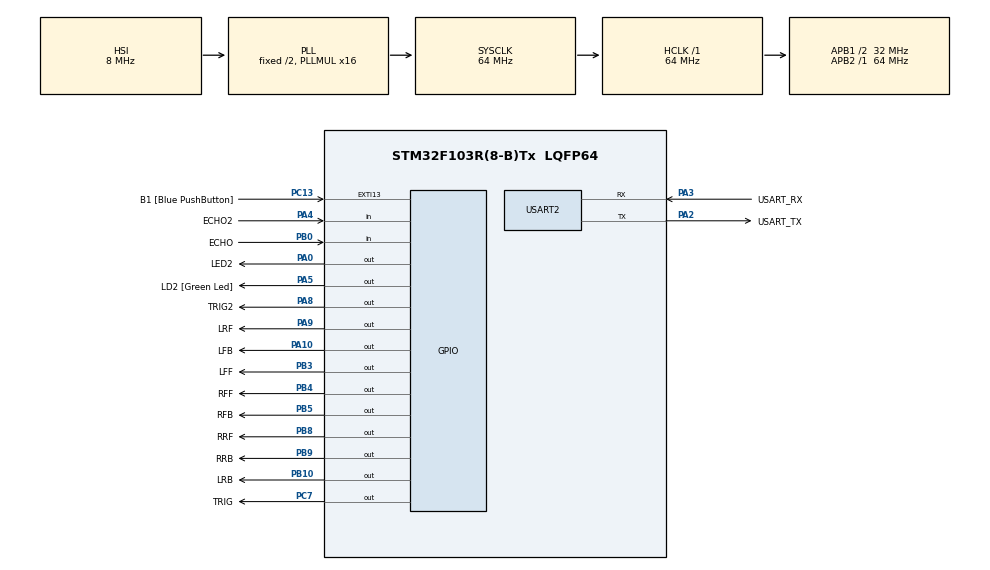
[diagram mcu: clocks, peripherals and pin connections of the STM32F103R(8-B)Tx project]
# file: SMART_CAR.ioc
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Mcu.Family=STM32F1
Mcu.Name=STM32F103R(8-B)Tx
Mcu.Package=LQFP64
NVIC.EXTI15_10_IRQn=true\:0\:0\:false\:false\:true\:true\:true\:true
NVIC.PriorityGroup=NVIC_PRIORITYGROUP_4
PA0-WKUP.GPIO_Label=LED2
PA0-WKUP.Signal=GPIO_Output
PA10.GPIO_Label=LFB
PA10.Signal=GPIO_Output
PA13.GPIO_Label=TMS
PA13.Mode=Serial_Wire
PA13.Signal=SYS_JTMS-SWDIO
PA14.GPIO_Label=TCK
PA14.Mode=Serial_Wire
PA14.Signal=SYS_JTCK-SWCLK
PA2.GPIO_Label=USART_TX
PA2.GPIO_Mode=GPIO_MODE_AF_PP
PA2.GPIO_PuPd=GPIO_NOPULL
PA2.GPIO_Speed=GPIO_SPEED_FREQ_LOW
PA2.Mode=Asynchronous
PA2.Signal=USART2_TX
PA3.GPIO_Label=USART_RX
PA3.GPIO_Mode=GPIO_MODE_AF_PP
PA3.GPIO_PuPd=GPIO_NOPULL
PA3.GPIO_Speed=GPIO_SPEED_FREQ_LOW
PA3.Mode=Asynchronous
PA3.Signal=USART2_RX
PA4.GPIO_Label=ECHO2
PA4.Signal=GPIO_Input
PA5.GPIO_Label=LD2 [Green Led]
PA5.GPIO_ModeDefaultOutputPP=GPIO_MODE_OUTPUT_PP
PA5.GPIO_PuPd=GPIO_NOPULL
PA5.GPIO_Speed=GPIO_SPEED_FREQ_LOW
PA5.Signal=GPIO_Output
PA8.GPIO_Label=TRIG2
PA8.Signal=GPIO_Output
PA9.GPIO_Label=LRF
PA9.Signal=GPIO_Output
PB0.GPIO_Label=ECHO
PB0.Signal=GPIO_Input
PB10.GPIO_Label=LRB
PB10.Signal=GPIO_Output
PB3.GPIO_Label=LFF
PB3.Signal=GPIO_Output
PB4.GPIO_Label=RFF
PB4.Signal=GPIO_Output
PB5.GPIO_Label=RFB
PB5.Signal=GPIO_Output
PB8.GPIO_Label=RRF
PB8.Signal=GPIO_Output
PB9.GPIO_Label=RRB
PB9.Signal=GPIO_Output
PC13-TAMPER-RTC.GPIO_Label=B1 [Blue PushButton]
PC13-TAMPER-RTC.GPIO_PuPd=GPIO_NOPULL
PC13-TAMPER-RTC.Signal=GPXTI13
PC14-OSC32_IN.Signal=RCC_OSC32_IN
PC15-OSC32_OUT.Signal=RCC_OSC32_OUT
PC7.GPIO_Label=TRIG
PC7.Signal=GPIO_Output
PD0-OSC_IN.Signal=RCC_OSC_IN
PD1-OSC_OUT.Signal=RCC_OSC_OUT
ProjectManager.HeapSize=0x200
ProjectManager.StackSize=0x400
ProjectManager.TargetToolchain=STM32CubeIDE
RCC.AHBFreq_Value=64000000
RCC.APB1CLKDivider=RCC_HCLK_DIV2
RCC.APB1Freq_Value=32000000
RCC.APB1TimFreq_Value=64000000
RCC.APB2Freq_Value=64000000
RCC.APB2TimFreq_Value=64000000
RCC.HCLKFreq_Value=64000000
RCC.PLLMUL=RCC_PLL_MUL16
RCC.RTCClockSelection=RCC_RTCCLKSOURCE_LSE
RCC.SYSCLKFreq_VALUE=64000000
RCC.SYSCLKSource=RCC_SYSCLKSOURCE_PLLCLK
RCC.USBFreq_Value=64000000
TIM1.Prescaler=64-1
TIM2.Prescaler=64-1
USART2.VirtualMode=VM_ASYNC
VP_TIM1_VS_ClockSourceINT.Mode=Internal
VP_TIM2_VS_ClockSourceINT.Mode=Internal
board=NUCLEO-F103RB

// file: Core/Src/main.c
/* USER CODE BEGIN Header */
/**
 ******************************************************************************
 * @file           : main.c
 * @brief          : Main program body
 ******************************************************************************
 * @attention
 *
 * Copyright (c) 2025 STMicroelectronics.
 * All rights reserved.
 *
 * This software is licensed under terms that can be found in the LICENSE file
 * in the root directory of this software component.
 * If no LICENSE file comes with this software, it is provided AS-IS.
 *
 ******************************************************************************
 */
/* USER CODE END Header */
#include "main.h"

/* USER CODE BEGIN Includes */
#include <stdio.h>
#include <stdlib.h>
/* USER CODE END Includes */

/* USER CODE BEGIN PD */
unsigned int echo_time = 0;
unsigned int echo2_time = 0;
int dist;
int dist2;
/* USER CODE END PD */

TIM_HandleTypeDef htim1;
TIM_HandleTypeDef htim2;

UART_HandleTypeDef huart2;

void SystemClock_Config(void);
static void MX_GPIO_Init(void);
static void MX_USART2_UART_Init(void);
static void MX_TIM1_Init(void);
static void MX_TIM2_Init(void);

/* USER CODE BEGIN 0 */
#ifdef __GNUC__
#define PUTCHAR_PROTOTYPE int __io_putchar(int ch)
#else
#define PUTCHAR_PROTOTYPE int fputc(int ch, FILE *f)
#endif

PUTCHAR_PROTOTYPE {
	if (ch == '\n')
		HAL_UART_Transmit(&huart2, (uint8_t*) "\r", 1, 0xFFFF);
	HAL_UART_Transmit(&huart2, (uint8_t*) &ch, 1, 0xFFFF);

	return ch;
}

void timer_start(void) {
	HAL_TIM_Base_Start(&htim1);
}

void delay_us(uint16_t us) {
	__HAL_TIM_SET_COUNTER(&htim1, 0); // initialize counter to start from 0
	while ((__HAL_TIM_GET_COUNTER(&htim1)) < us)
		; // wait count until us
}

void trig(void) {
	HAL_GPIO_WritePin(TRIG_GPIO_Port, TRIG_Pin, 1);
	delay_us(10);
	HAL_GPIO_WritePin(TRIG_GPIO_Port, TRIG_Pin, 0);
}

/**
 * @brief echo 신호가 HIGH를 유지하는 시간을 (㎲)단위로 측정하여 리턴한다.
 * @param no param(void)
 */

long unsigned int echo(void) {
	long unsigned int echo = 0;

	while (HAL_GPIO_ReadPin(ECHO_GPIO_Port, ECHO_Pin) == 0) {
	}
	__HAL_TIM_SET_COUNTER(&htim1, 0);
	while (HAL_GPIO_ReadPin(ECHO_GPIO_Port, ECHO_Pin) == 1)
		;
	echo = __HAL_TIM_GET_COUNTER(&htim1);

	if (echo >= 240 && echo <= 23000)
		return echo;
	else
		return 0;
}

void timer2_start(void) {
	HAL_TIM_Base_Start(&htim2);
}

void delay2_us(uint16_t us) {
	__HAL_TIM_SET_COUNTER(&htim2, 0); // initialize counter to start from 0
	while ((__HAL_TIM_GET_COUNTER(&htim2)) < us)
		; // wait count until us
}

void trig2(void) {
	HAL_GPIO_WritePin(TRIG2_GPIO_Port, TRIG2_Pin, 1);
	delay2_us(10);
	HAL_GPIO_WritePin(TRIG2_GPIO_Port, TRIG2_Pin, 0);
}

long unsigned int echo2(void) {
	long unsigned int echo2 = 0;

	while (HAL_GPIO_ReadPin(ECHO2_GPIO_Port, ECHO2_Pin) == 0) {
	}
	__HAL_TIM_SET_COUNTER(&htim2, 0);
	while (HAL_GPIO_ReadPin(ECHO2_GPIO_Port, ECHO2_Pin) == 1)
		;
	echo2 = __HAL_TIM_GET_COUNTER(&htim2);

	if (echo2 >= 240 && echo2 <= 23000)
		return echo2;
	else
		return 0;
}

void smartcar_forward(void) {
	HAL_GPIO_WritePin(LFF_GPIO_Port, LFF_Pin, 1);
	HAL_GPIO_WritePin(LFB_GPIO_Port, LFB_Pin, 0);

	HAL_GPIO_WritePin(LRF_GPIO_Port, LRF_Pin, 1);
	HAL_GPIO_WritePin(LRB_GPIO_Port, LRB_Pin, 0);

	HAL_GPIO_WritePin(RFF_GPIO_Port, RFF_Pin, 1);
	HAL_GPIO_WritePin(RFB_GPIO_Port, RFB_Pin, 0);

	HAL_GPIO_WritePin(RRF_GPIO_Port, RRF_Pin, 1);
	HAL_GPIO_WritePin(RRB_GPIO_Port, RRB_Pin, 0);
}

void smartcar_backward(void) {
	HAL_GPIO_WritePin(LFF_GPIO_Port, LFF_Pin, 0);
	HAL_GPIO_WritePin(LFB_GPIO_Port, LFB_Pin, 1);

	HAL_GPIO_WritePin(LRF_GPIO_Port, LRF_Pin, 0);
	HAL_GPIO_WritePin(LRB_GPIO_Port, LRB_Pin, 1);

	HAL_GPIO_WritePin(RFF_GPIO_Port, RFF_Pin, 0);
	HAL_GPIO_WritePin(RFB_GPIO_Port, RFB_Pin, 1);

	HAL_GPIO_WritePin(RRF_GPIO_Port, RRF_Pin, 0);
	HAL_GPIO_WritePin(RRB_GPIO_Port, RRB_Pin, 1);
}

void smartcar_right(void) {
	HAL_GPIO_WritePin(LFF_GPIO_Port, LFF_Pin, 1);
	HAL_GPIO_WritePin(LFB_GPIO_Port, LFB_Pin, 0);

	HAL_GPIO_WritePin(LRF_GPIO_Port, LRF_Pin, 1);
	HAL_GPIO_WritePin(LRB_GPIO_Port, LRB_Pin, 0);

	HAL_GPIO_WritePin(RFF_GPIO_Port, RFF_Pin, 0);
	HAL_GPIO_WritePin(RFB_GPIO_Port, RFB_Pin, 1);

	HAL_GPIO_WritePin(RRF_GPIO_Port, RRF_Pin, 0);
	HAL_GPIO_WritePin(RRB_GPIO_Port, RRB_Pin, 1);
}

void smartcar_left(void) {
	HAL_GPIO_WritePin(LFF_GPIO_Port, LFF_Pin, 0);
	HAL_GPIO_WritePin(LFB_GPIO_Port, LFB_Pin, 1);

	HAL_GPIO_WritePin(LRF_GPIO_Port, LRF_Pin, 0);
	HAL_GPIO_WritePin(LRB_GPIO_Port, LRB_Pin, 1);

	HAL_GPIO_WritePin(RFF_GPIO_Port, RFF_Pin, 1);
	HAL_GPIO_WritePin(RFB_GPIO_Port, RFB_Pin, 0);

	HAL_GPIO_WritePin(RRF_GPIO_Port, RRF_Pin, 1);
	HAL_GPIO_WritePin(RRB_GPIO_Port, RRB_Pin, 0);
}

void smartcar_stop(void) {
	HAL_GPIO_WritePin(LFF_GPIO_Port, LFF_Pin, 0);
	HAL_GPIO_WritePin(LFB_GPIO_Port, LFB_Pin, 0);

	HAL_GPIO_WritePin(LRF_GPIO_Port, LRF_Pin, 0);
	HAL_GPIO_WritePin(LRB_GPIO_Port, LRB_Pin, 0);

	HAL_GPIO_WritePin(RFF_GPIO_Port, RFF_Pin, 0);
	HAL_GPIO_WritePin(RFB_GPIO_Port, RFB_Pin, 0);

	HAL_GPIO_WritePin(RRF_GPIO_Port, RRF_Pin, 0);
	HAL_GPIO_WritePin(RRB_GPIO_Port, RRB_Pin, 0);
}
/* USER CODE END 0 */

int main(void) {

	/* MCU Configuration--------------------------------------------------------*/

	/* Reset of all peripherals, Initializes the Flash interface and the Systick. */
	HAL_Init();

	/* Configure the system clock */
	SystemClock_Config();

	/* Initialize all configured peripherals */
	MX_GPIO_Init();
	MX_USART2_UART_Init();
	MX_TIM1_Init();
	MX_TIM2_Init();
	/* USER CODE BEGIN 2 */
	printf("=== UART2 Receive Test ===\r\n");
	timer_start();
	timer2_start();
	uint8_t ch;

	smartcar_stop();

	/* USER CODE END 2 */

	/* Infinite loop */
	/* USER CODE BEGIN WHILE */
	while (1) {
//		HAL_UART_Receive(&huart2, &ch, 1, HAL_MAX_DELAY);

		trig();
		echo_time = echo();

		if (echo_time != 0) {
			dist = (int) (17 * echo_time / 100);
			printf("\n Distance = %d(mm)\n", dist);
		} else
			printf("Out of Range!\n");

		trig2();
		echo2_time = echo2();
		if (echo2_time != 0) {
			dist2 = (int) (17 * echo2_time / 100);
			printf("Distance2 = %d(mm)\n\n", dist2);
		} else
			printf("Out of Range2!\n");

		smartcar_forward();

		if (dist <= 200 || dist2 <= 200){
			if (dist > dist2){
				smartcar_right();
				HAL_Delay(300);
			}
			else if (dist < dist2){
				smartcar_left();
				HAL_Delay(300);
			}
		}

//
//		if (ch == 'w') {
//			printf("Forward \r\n");
//			smartcar_forward();
//			HAL_Delay(100);
//		} else if (ch == 's') {
//			printf("backward \r\n");
//			smartcar_backward();
//			HAL_Delay(100);
//		} else if (ch == 'd') {
//			printf("right \r\n");
//			smartcar_right();
//			HAL_Delay(100);
//		} else if (ch == 'a') {
//			printf("left \r\n");
//			smartcar_left();
//			HAL_Delay(100);
//		} else if (ch == 'f') {
//			printf("stop \r\n");
//			smartcar_stop();
//		}
//
//		smartcar_stop();

//
//	  smartcar_forward();
//	  HAL_Delay(5000);
//
//	  smartcar_backward();
//	  HAL_Delay(5000);
//
//	  smartcar_stop();
//	  HAL_Delay(5000);

//	  HAL_GPIO_WritePin(RFF_GPIO_Port, RFF_Pin, 1);
//	  HAL_GPIO_WritePin(RFB_GPIO_Port, RFB_Pin, 0);
//
//	  HAL_GPIO_WritePin(RRF_GPIO_Port, RRF_Pin, 1);
//	  HAL_GPIO_WritePin(RRB_GPIO_Port, RRB_Pin, 0);
//
//	  HAL_GPIO_WritePin(LFF_GPIO_Port, LFF_Pin, 1);
//	  HAL_GPIO_WritePin(LFB_GPIO_Port, LFB_Pin, 0);
//
//	  HAL_GPIO_WritePin(LRF_GPIO_Port, LRF_Pin, 1);
//	  HAL_GPIO_WritePin(LRB_GPIO_Port, LRB_Pin, 0);
//
//	  HAL_GPIO_WritePin(LD2_GPIO_Port, LD2_Pin, 1);
//	  HAL_GPIO_WritePin(LED2_GPIO_Port, LED2_Pin, 1);
//	  HAL_Delay(100);
//	  HAL_GPIO_WritePin(LD2_GPIO_Port, LD2_Pin, 0);
//	  HAL_GPIO_WritePin(LED2_GPIO_Port, LED2_Pin, 0);
//	  HAL_Delay(100);

		/* USER CODE END WHILE */

	}
}

void SystemClock_Config(void) {
	RCC_OscInitTypeDef RCC_OscInitStruct = { 0 };
	RCC_ClkInitTypeDef RCC_ClkInitStruct = { 0 };

	/** Initializes the RCC Oscillators according to the specified parameters
	 * in the RCC_OscInitTypeDef structure.
	 */
	RCC_OscInitStruct.OscillatorType = RCC_OSCILLATORTYPE_HSI;
	RCC_OscInitStruct.HSIState = RCC_HSI_ON;
	RCC_OscInitStruct.HSICalibrationValue = RCC_HSICALIBRATION_DEFAULT;
	RCC_OscInitStruct.PLL.PLLState = RCC_PLL_ON;
	RCC_OscInitStruct.PLL.PLLSource = RCC_PLLSOURCE_HSI_DIV2;
	RCC_OscInitStruct.PLL.PLLMUL = RCC_PLL_MUL16;
	if (HAL_RCC_OscConfig(&RCC_OscInitStruct) != HAL_OK) {
		Error_Handler();
	}

	/** Initializes the CPU, AHB and APB buses clocks
	 */
	RCC_ClkInitStruct.ClockType = RCC_CLOCKTYPE_HCLK | RCC_CLOCKTYPE_SYSCLK
			| RCC_CLOCKTYPE_PCLK1 | RCC_CLOCKTYPE_PCLK2;
	RCC_ClkInitStruct.SYSCLKSource = RCC_SYSCLKSOURCE_PLLCLK;
	RCC_ClkInitStruct.AHBCLKDivider = RCC_SYSCLK_DIV1;
	RCC_ClkInitStruct.APB1CLKDivider = RCC_HCLK_DIV2;
	RCC_ClkInitStruct.APB2CLKDivider = RCC_HCLK_DIV1;

	if (HAL_RCC_ClockConfig(&RCC_ClkInitStruct, FLASH_LATENCY_2) != HAL_OK) {
		Error_Handler();
	}
}

static void MX_TIM1_Init(void) {

	TIM_ClockConfigTypeDef sClockSourceConfig = { 0 };
	TIM_MasterConfigTypeDef sMasterConfig = { 0 };

	htim1.Instance = TIM1;
	htim1.Init.Prescaler = 64 - 1;
	htim1.Init.CounterMode = TIM_COUNTERMODE_UP;
	htim1.Init.Period = 65535;
	htim1.Init.ClockDivision = TIM_CLOCKDIVISION_DIV1;
	htim1.Init.RepetitionCounter = 0;
	htim1.Init.AutoReloadPreload = TIM_AUTORELOAD_PRELOAD_DISABLE;
	if (HAL_TIM_Base_Init(&htim1) != HAL_OK) {
		Error_Handler();
	}
	sClockSourceConfig.ClockSource = TIM_CLOCKSOURCE_INTERNAL;
	if (HAL_TIM_ConfigClockSource(&htim1, &sClockSourceConfig) != HAL_OK) {
		Error_Handler();
	}
	sMasterConfig.MasterOutputTrigger = TIM_TRGO_RESET;
	sMasterConfig.MasterSlaveMode = TIM_MASTERSLAVEMODE_DISABLE;
	if (HAL_TIMEx_MasterConfigSynchronization(&htim1, &sMasterConfig)
			!= HAL_OK) {
		Error_Handler();
	}

}

static void MX_TIM2_Init(void) {

	TIM_ClockConfigTypeDef sClockSourceConfig = { 0 };
	TIM_MasterConfigTypeDef sMasterConfig = { 0 };

	htim2.Instance = TIM2;
	htim2.Init.Prescaler = 64 - 1;
	htim2.Init.CounterMode = TIM_COUNTERMODE_UP;
	htim2.Init.Period = 65535;
	htim2.Init.ClockDivision = TIM_CLOCKDIVISION_DIV1;
	htim2.Init.AutoReloadPreload = TIM_AUTORELOAD_PRELOAD_DISABLE;
	if (HAL_TIM_Base_Init(&htim2) != HAL_OK) {
		Error_Handler();
	}
	sClockSourceConfig.ClockSource = TIM_CLOCKSOURCE_INTERNAL;
	if (HAL_TIM_ConfigClockSource(&htim2, &sClockSourceConfig) != HAL_OK) {
		Error_Handler();
	}
	sMasterConfig.MasterOutputTrigger = TIM_TRGO_RESET;
	sMasterConfig.MasterSlaveMode = TIM_MASTERSLAVEMODE_DISABLE;
	if (HAL_TIMEx_MasterConfigSynchronization(&htim2, &sMasterConfig)
			!= HAL_OK) {
		Error_Handler();
	}

}

static void MX_USART2_UART_Init(void) {

	huart2.Instance = USART2;
	huart2.Init.BaudRate = 115200;
	huart2.Init.WordLength = UART_WORDLENGTH_8B;
	huart2.Init.StopBits = UART_STOPBITS_1;
	huart2.Init.Parity = UART_PARITY_NONE;
	huart2.Init.Mode = UART_MODE_TX_RX;
	huart2.Init.HwFlowCtl = UART_HWCONTROL_NONE;
	huart2.Init.OverSampling = UART_OVERSAMPLING_16;
	if (HAL_UART_Init(&huart2) != HAL_OK) {
		Error_Handler();
	}

}

static void MX_GPIO_Init(void) {
	GPIO_InitTypeDef GPIO_InitStruct = { 0 };

	/* GPIO Ports Clock Enable */
	__HAL_RCC_GPIOC_CLK_ENABLE();
	__HAL_RCC_GPIOD_CLK_ENABLE();
	__HAL_RCC_GPIOA_CLK_ENABLE();
	__HAL_RCC_GPIOB_CLK_ENABLE();

	/*Configure GPIO pin Output Level */
	HAL_GPIO_WritePin(GPIOA, LED2_Pin | LD2_Pin | TRIG2_Pin | LRF_Pin | LFB_Pin,
			GPIO_PIN_RESET);

	/*Configure GPIO pin Output Level */
	HAL_GPIO_WritePin(GPIOB,
	LRB_Pin | LFF_Pin | RFF_Pin | RFB_Pin | RRF_Pin | RRB_Pin, GPIO_PIN_RESET);

	/*Configure GPIO pin Output Level */
	HAL_GPIO_WritePin(TRIG_GPIO_Port, TRIG_Pin, GPIO_PIN_RESET);

	/*Configure GPIO pin : B1_Pin */
	GPIO_InitStruct.Pin = B1_Pin;
	GPIO_InitStruct.Mode = GPIO_MODE_IT_RISING;
	GPIO_InitStruct.Pull = GPIO_NOPULL;
	HAL_GPIO_Init(B1_GPIO_Port, &GPIO_InitStruct);

	/*Configure GPIO pins : LED2_Pin LD2_Pin TRIG2_Pin LRF_Pin
	 LFB_Pin */
	GPIO_InitStruct.Pin = LED2_Pin | LD2_Pin | TRIG2_Pin | LRF_Pin | LFB_Pin;
	GPIO_InitStruct.Mode = GPIO_MODE_OUTPUT_PP;
	GPIO_InitStruct.Pull = GPIO_NOPULL;
	GPIO_InitStruct.Speed = GPIO_SPEED_FREQ_LOW;
	HAL_GPIO_Init(GPIOA, &GPIO_InitStruct);

	/*Configure GPIO pin : ECHO2_Pin */
	GPIO_InitStruct.Pin = ECHO2_Pin;
	GPIO_InitStruct.Mode = GPIO_MODE_INPUT;
	GPIO_InitStruct.Pull = GPIO_NOPULL;
	HAL_GPIO_Init(ECHO2_GPIO_Port, &GPIO_InitStruct);

	/*Configure GPIO pin : ECHO_Pin */
	GPIO_InitStruct.Pin = ECHO_Pin;
	GPIO_InitStruct.Mode = GPIO_MODE_INPUT;
	GPIO_InitStruct.Pull = GPIO_NOPULL;
	HAL_GPIO_Init(ECHO_GPIO_Port, &GPIO_InitStruct);

	/*Configure GPIO pins : LRB_Pin LFF_Pin RFF_Pin RFB_Pin
	 RRF_Pin RRB_Pin */
	GPIO_InitStruct.Pin = LRB_Pin | LFF_Pin | RFF_Pin | RFB_Pin | RRF_Pin
			| RRB_Pin;
	GPIO_InitStruct.Mode = GPIO_MODE_OUTPUT_PP;
	GPIO_InitStruct.Pull = GPIO_NOPULL;
	GPIO_InitStruct.Speed = GPIO_SPEED_FREQ_LOW;
	HAL_GPIO_Init(GPIOB, &GPIO_InitStruct);

	/*Configure GPIO pin : TRIG_Pin */
	GPIO_InitStruct.Pin = TRIG_Pin;
	GPIO_InitStruct.Mode = GPIO_MODE_OUTPUT_PP;
	GPIO_InitStruct.Pull = GPIO_NOPULL;
	GPIO_InitStruct.Speed = GPIO_SPEED_FREQ_LOW;
	HAL_GPIO_Init(TRIG_GPIO_Port, &GPIO_InitStruct);

	/* EXTI interrupt init*/
	HAL_NVIC_SetPriority(EXTI15_10_IRQn, 0, 0);
	HAL_NVIC_EnableIRQ(EXTI15_10_IRQn);

}

void Error_Handler(void) {
	__disable_irq();
	while (1) {
	}
}
